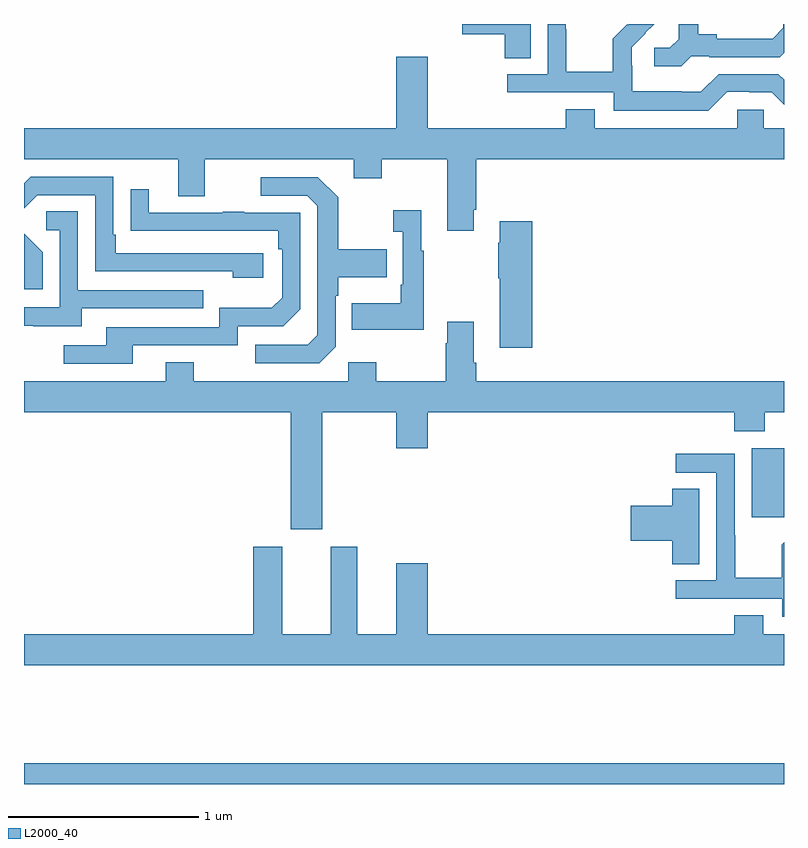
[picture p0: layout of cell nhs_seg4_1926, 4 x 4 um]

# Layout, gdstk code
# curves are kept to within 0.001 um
import gdstk
lib = gdstk.Library(unit=1e-6, precision=1e-09)
def R(c, l, rs):  # rectangles x0, y0, x1, y1
    for r in rs: c.add(gdstk.rectangle(r[:2], r[2:], *l))
def P(c, l, *ps):  # polygons
    for p in ps: c.add(gdstk.Polygon(p, *l))
L2000_40 = (2000, 40)

nhs_seg4_1926 = lib.new_cell('nhs_seg4_1926')
R(nhs_seg4_1926, L2000_40, [(211,758.9,215,759.008), (214.829,760.305,215,760.666)])
P(nhs_seg4_1926, L2000_40, [(213.667,762.9),(213.306,762.9),(213.306,762.845),(213.529,762.845),(213.529,762.721),(213.667,762.721)],
  [(214.701,762.543),(214.817,762.543),(214.817,762.54),(214.935,762.54),(215,762.475),(215,762.607),(214.971,762.636),(214.656,762.636),(214.563,762.543),(214.463,762.543),(214.463,762.547),(214.2,762.547),(214.2,762.681),(214.198,762.681),(214.198,762.778),(214.318,762.9),(214.182,762.9),(214.179,762.897),(214.176,762.9),(214.099,762.823),(214.099,762.649),(213.855,762.649),(213.855,762.872),(213.852,762.872),(213.852,762.9),(213.756,762.9),(213.756,762.636),(213.543,762.636),(213.543,762.54),(214.104,762.54),(214.104,762.443),(214.601,762.443)],
  [(214.512,762.729),(214.606,762.729),(214.606,762.726),(214.978,762.726),(215,762.748),(215,762.9),(214.997,762.9),(214.997,762.879),(214.94,762.822),(214.645,762.822),(214.645,762.845),(214.549,762.845),(214.549,762.9),(214.445,762.9),(214.445,762.821),(214.398,762.774),(214.317,762.774),(214.317,762.677),(214.46,762.677)],
  [(213.367,761.923),(213.38,761.923),(213.38,762.188),(215,762.188),(215,762.352),(214.893,762.352),(214.893,762.45),(214.755,762.45),(214.755,762.352),(214.003,762.352),(214.003,762.451),(213.851,762.451),(213.851,762.352),(213.124,762.352),(213.124,762.727),(212.96,762.727),(212.96,762.352),(211,762.352),(211,762.188),(211.811,762.188),(211.811,761.994),(211.951,761.994),(211.951,762.188),(212.735,762.188),(212.735,762.089),(212.883,762.089),(212.883,762.188),(213.227,762.188),(213.227,761.811),(213.367,761.811)],
  [(212.26,761.694),(211.483,761.694),(211.483,761.791),(211.47,761.791),(211.47,762.096),(211.035,762.096),(211,762.061),(211,761.929),(211.071,762),(211.374,762),(211.374,761.598),(212.099,761.598),(212.099,761.564),(212.26,761.564)],
  [(212.64,761.202),(212.64,761.471),(212.653,761.471),(212.653,761.567),(212.909,761.567),(212.909,761.715),(212.653,761.715),(212.653,761.987),(212.547,762.093),(212.247,762.093),(212.247,761.997),(212.49,761.997),(212.544,761.943),(212.544,761.262),(212.493,761.211),(212.217,761.211),(212.217,761.115),(212.553,761.115)],
  [(211.573,761.208),(212.124,761.208),(212.124,761.31),(212.364,761.31),(212.454,761.4),(212.454,761.907),(212.159,761.907),(212.159,761.912),(212.047,761.912),(212.047,761.907),(211.657,761.907),(211.657,762.031),(211.561,762.031),(211.561,761.812),(212.338,761.811),(212.338,761.714),(212.358,761.714),(212.358,761.46),(212.305,761.407),(212.028,761.407),(212.028,761.304),(211.433,761.304),(211.433,761.208),(211.209,761.208),(211.209,761.112),(211.573,761.112)],
  [(213.103,761.707),(213.091,761.707),(213.091,761.92),(212.943,761.92),(212.943,761.807),(212.994,761.807),(212.994,761.527),(212.982,761.527),(212.982,761.431),(212.725,761.431),(212.725,761.291),(213.103,761.291)],
  [(211.303,761.403),(211.943,761.403),(211.943,761.499),(211.284,761.499),(211.284,761.915),(211.116,761.915),(211.116,761.814),(211.188,761.814),(211.188,761.409),(211,761.409),(211,761.313),(211.049,761.313),(211.049,761.309),(211.303,761.309)],
  [(213.676,761.863),(213.503,761.863),(213.503,761.75),(213.496,761.75),(213.496,761.561),(213.503,761.561),(213.503,761.196),(213.676,761.196)],
  [(211.098,761.698),(211,761.796),(211,761.662),(211.001,761.661),(211.001,761.505),(211.098,761.505)],
  [(213.367,761.116),(213.367,761.332),(213.227,761.332),(213.227,761.219),(213.22,761.219),(213.22,761.02),(212.853,761.02),(212.853,761.119),(212.706,761.119),(212.706,761.02),(211.893,761.02),(211.893,761.119),(211.745,761.119),(211.745,761.02),(211,761.02),(211,760.856),(212.405,760.856),(212.405,760.242),(212.569,760.242),(212.569,760.856),(212.96,760.856),(212.96,760.668),(213.124,760.668),(213.124,760.856),(214.739,760.856),(214.739,760.757),(214.899,760.757),(214.899,760.856),(215,760.856),(215,761.02),(213.38,761.02),(213.38,761.116)],
  [(215,760.172),(214.987,760.159),(214.987,759.985),(214.743,759.985),(214.743,760.208),(214.74,760.208),(214.74,760.638),(214.431,760.638),(214.431,760.539),(214.644,760.539),(214.644,759.972),(214.431,759.972),(214.431,759.876),(214.992,759.876),(214.992,759.779),(215,759.779)],
  [(214.555,760.454),(214.412,760.454),(214.412,760.364),(214.194,760.364),(214.194,760.181),(214.412,760.181),(214.412,760.057),(214.555,760.057)],
  [(215,759.688),(214.891,759.688),(214.891,759.787),(214.739,759.787),(214.739,759.688),(213.124,759.688),(213.124,760.063),(212.96,760.063),(212.96,759.688),(212.755,759.688),(212.755,760.15),(212.615,760.15),(212.615,759.688),(212.359,759.688),(212.359,760.15),(212.207,760.15),(212.207,759.688),(211,759.688),(211,759.524),(215,759.524)])

lib.write_gds('nhs_seg4_1926.gds')
